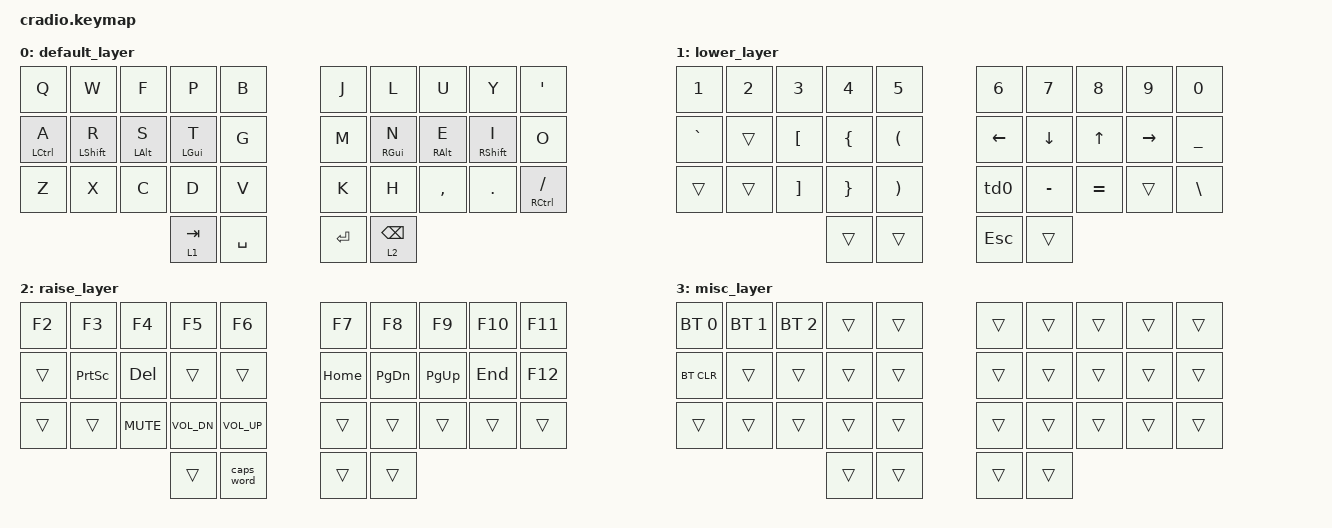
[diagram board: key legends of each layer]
/*
 * Copyright (c) 2020 The ZMK Contributors
 *
 * SPDX-License-Identifier: MIT
 */

#include <behaviors.dtsi>
#include <dt-bindings/zmk/keys.h>
#include <dt-bindings/zmk/bt.h>

#define DEFAULT 0
#define LOWER   1
#define RAISE   2
#define ML   3

&lt { quick_tap_ms = <200>; };
&caps_word {
    continue-list = <UNDERSCORE MINUS>;
};


/ { 

behaviors {
    hm: homerow_mods {
        compatible = "zmk,behavior-hold-tap";
        label = "HOMEROW_MODS";
        #binding-cells = <2>;
        tapping-term-ms = <220>;
        quick_tap_ms = <0>;
        flavor = "tap-preferred";
        bindings = <&kp>, <&kp>;
    };
    td: tapdance {
            compatible = "zmk,behavior-hold-tap";
            label = "TAPDANCE";
            #binding-cells = <2>;
            tapping-term-ms = <150>;
            quick_tap_ms = <0>;
            flavor = "tap-preferred";
            bindings = <&kp>, <&kp>;
        };
    td0: tap_dance_0 {
            compatible  = "zmk,behavior-tap-dance";
        label = "TAP_DANCE_0";
            #binding-cells = <0>;
            tapping-term-ms = <200>;
            bindings = <&kp RA(TAB)>, <&kp RC(RA(TAB))>;
        };
    };
    combos {
        compatible = "zmk,combos";
        combo_brace_left {
            timeout-ms = <50>;
            key-positions = <12 13>;
            bindings = <&kp LEFT_BRACE>;
        };
        combo_brace_right {
            timeout-ms = <50>;
            key-positions = <16 17>;
            bindings = <&kp RIGHT_BRACE>;
        };
        combo_bracket_left {
            timeout-ms = <50>;
            key-positions = <2 3>;
            bindings = <&kp LEFT_BRACKET>;
        };
        combo_bracket_right {
            timeout-ms = <50>;
            key-positions = <6 7>;
            bindings = <&kp RIGHT_BRACKET>;
        };
        combo_par_left {
            timeout-ms = <50>;
            key-positions = <22 23>;
            bindings = <&kp LEFT_PARENTHESIS>;
        };
        combo_par_right {
            timeout-ms = <50>;
            key-positions = <26 27>;
            bindings = <&kp RIGHT_PARENTHESIS>;
        };
        combo_semi {
            timeout-ms = <50>;
            key-positions = <8 9>;
            bindings = <&kp SEMI>;
        };
    };
conditional_layers {
    compatible = "zmk,conditional-layers";

    tri_layer {
        if-layers = <1 2>;
        then-layer = <3>;
    };
};
keymap {
        compatible = "zmk,keymap";

        default_layer {

            bindings = <
    &kp Q         &kp W       &kp F        &kp P      &kp B      &kp J      &kp L      &kp U       &kp Y       &kp SQT           
    &hm LCTRL A   &hm LSHFT R &hm LALT S   &hm LGUI T &kp G      &kp M      &hm RGUI N &hm RALT E  &hm RSHFT I &kp O           
    &kp Z         &kp X       &kp C        &kp D      &kp V      &kp K      &kp H      &kp COMMA   &kp DOT     &hm RCTRL FSLH 
                                                      &lt 1 TAB  &kp SPACE  &kp RET    &lt 2 BKSP 
            >;
        };

        lower_layer {
            bindings = <
    &kp N1     &kp N2          &kp N3  	          &kp N4             &kp N5                &kp N6     &kp N7     &kp N8     &kp N9       &kp N0     
    &kp GRAVE  &trans          &kp LEFT_BRACKET   &kp LEFT_BRACE     &kp LEFT_PARENTHESIS  &kp LEFT   &kp DOWN   &kp UP     &kp RIGHT    &kp UNDER  
    &trans     &trans          &kp RIGHT_BRACKET  &kp RIGHT_BRACE    &kp RIGHT_PARENTHESIS &td0       &kp MINUS  &kp EQUAL  &trans       &kp BSLH   
                                                      &trans          &trans                &kp ESC    &trans     
            >;
        };

        raise_layer {
            bindings = <
    &kp F2  &kp F3     &kp F4       &kp F5         &kp F6        &kp F7     &kp F8    &kp F9    &kp F10  &kp F11  
    &trans  &kp PSCRN  &kp DEL      &trans         &trans        &kp HOME   &kp PG_DN &kp PG_UP &kp END  &kp F12  
    &trans  &trans     &kp C_MUTE   &kp C_VOL_DN   &kp C_VOL_UP  &trans     &trans    &trans    &trans   &trans   
                                    &trans           &caps_word        &trans     &trans    
            >;
        };

        misc_layer {
            bindings = <
    &bt BT_SEL 0  &bt BT_SEL 1 &bt BT_SEL 2  &trans   &trans      &trans  &trans  &trans  &trans   &trans
    &bt BT_CLR    &trans       &trans        &trans   &trans      &trans  &trans  &trans  &trans   &trans
    &trans        &trans       &trans        &trans   &trans      &trans  &trans  &trans  &trans   &trans
                                             &trans   &trans      &trans  &trans  
            >;
        };
    };
};

     
